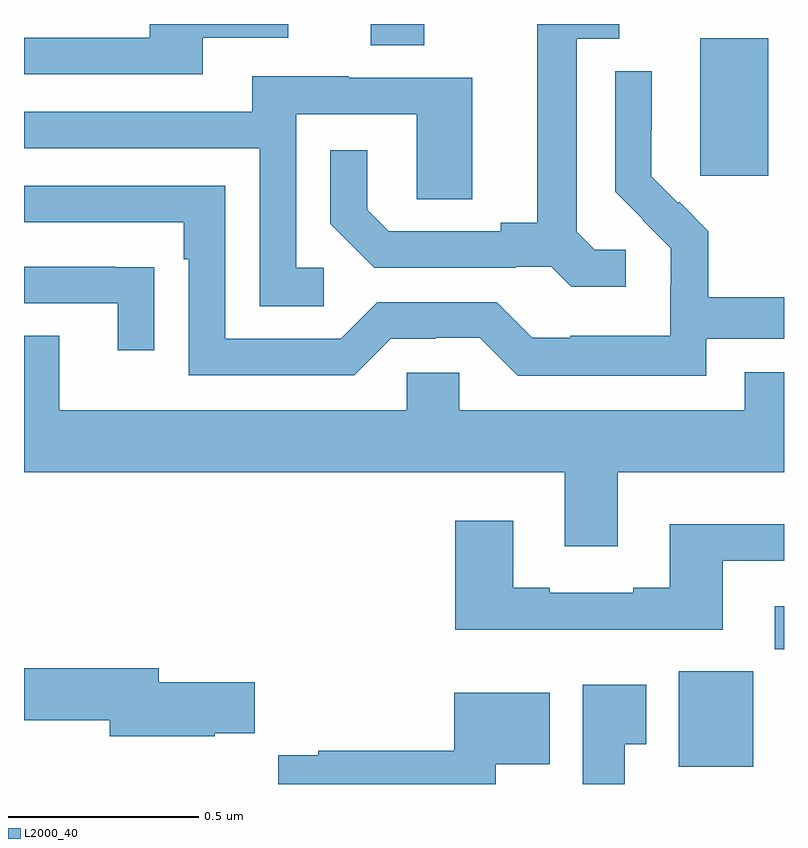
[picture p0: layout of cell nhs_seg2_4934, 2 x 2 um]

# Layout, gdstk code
import gdstk
lib = gdstk.Library(unit=1e-6, precision=1e-09)
def R(c, l, rs):  # rectangles x0, y0, x1, y1
    for r in rs: c.add(gdstk.rectangle(r[:2], r[2:], *l))
def P(c, l, *ps):  # polygons
    for p in ps: c.add(gdstk.Polygon(p, *l))
L2000_40 = (2000, 40)

nhs_seg2_4934 = lib.new_cell('nhs_seg2_4934')
R(nhs_seg2_4934, L2000_40, [(173.723,662.846,173.919,663.097), (173.975,663.155,174,663.268), (173.78,664.401,173.959,664.762), (172.913,664.744,173.053,664.8)])
P(nhs_seg2_4934, L2000_40, [(173.584,664.206),(173.502,664.206),(173.455,664.253),(173.455,664.761),(173.566,664.761),(173.566,664.8),(173.351,664.8),(173.351,664.277),(173.255,664.277),(173.255,664.254),(172.96,664.254),(172.903,664.311),(172.903,664.468),(172.806,664.468),(172.806,664.274),(172.922,664.158),(173.294,664.158),(173.294,664.161),(173.388,664.161),(173.44,664.109),(173.584,664.109)],
  [(172.471,664.764),(172.696,664.764),(172.696,664.8),(172.331,664.8),(172.331,664.764),(172,664.764),(172,664.668),(172.471,664.668)],
  [(173.796,663.972),(174,663.972),(174,664.081),(173.801,664.081),(173.801,664.255),(173.724,664.332),(173.721,664.329),(173.651,664.4),(173.651,664.522),(173.652,664.522),(173.652,664.676),(173.556,664.676),(173.556,664.358),(173.629,664.285),(173.628,664.284),(173.702,664.21),(173.702,664.113),(173.7,664.113),(173.7,663.979),(173.437,663.979),(173.437,663.975),(173.337,663.975),(173.244,664.068),(172.929,664.068),(172.833,663.972),(172.53,663.972),(172.53,664.374),(172,664.374),(172,664.278),(172.421,664.278),(172.421,664.181),(172.434,664.181),(172.434,663.876),(172.869,663.876),(172.965,663.972),(173.084,663.972),(173.084,663.975),(173.199,663.975),(173.299,663.875),(173.796,663.875)],
  [(172.789,664.158),(172.716,664.158),(172.716,664.563),(173.034,664.563),(173.034,664.339),(173.179,664.339),(173.179,664.659),(172.855,664.659),(172.855,664.663),(172.601,664.663),(172.601,664.569),(172,664.569),(172,664.473),(172.62,664.473),(172.62,664.057),(172.789,664.057)],
  [(172.343,664.16),(172.241,664.16),(172.241,664.161),(172,664.161),(172,664.065),(172.247,664.065),(172.247,663.942),(172.343,663.942)],
  [(173.145,663.882),(173.007,663.882),(173.007,663.784),(172.093,663.784),(172.093,663.979),(172,663.979),(172,663.62),(173.423,663.62),(173.423,663.426),(173.563,663.426),(173.563,663.62),(174,663.62),(174,663.883),(173.897,663.883),(173.897,663.784),(173.145,663.784)],
  [(173.839,663.387),(174,663.387),(174,663.484),(173.699,663.484),(173.699,663.316),(173.603,663.316),(173.603,663.303),(173.383,663.303),(173.383,663.316),(173.287,663.316),(173.287,663.493),(173.135,663.493),(173.135,663.206),(173.839,663.206)],
  [(172.502,662.934),(172.607,662.934),(172.607,663.068),(172.354,663.068),(172.354,663.104),(172,663.104),(172,662.968),(172.226,662.968),(172.226,662.926),(172.502,662.926)],
  [(173.581,662.905),(173.638,662.905),(173.638,663.061),(173.471,663.061),(173.471,662.8),(173.581,662.8)],
  [(173.242,662.852),(173.383,662.852),(173.383,663.04),(173.132,663.04),(173.132,662.888),(172.774,662.888),(172.774,662.876),(172.669,662.876),(172.669,662.8),(173.242,662.8)])

lib.write_gds('nhs_seg2_4934.gds')
